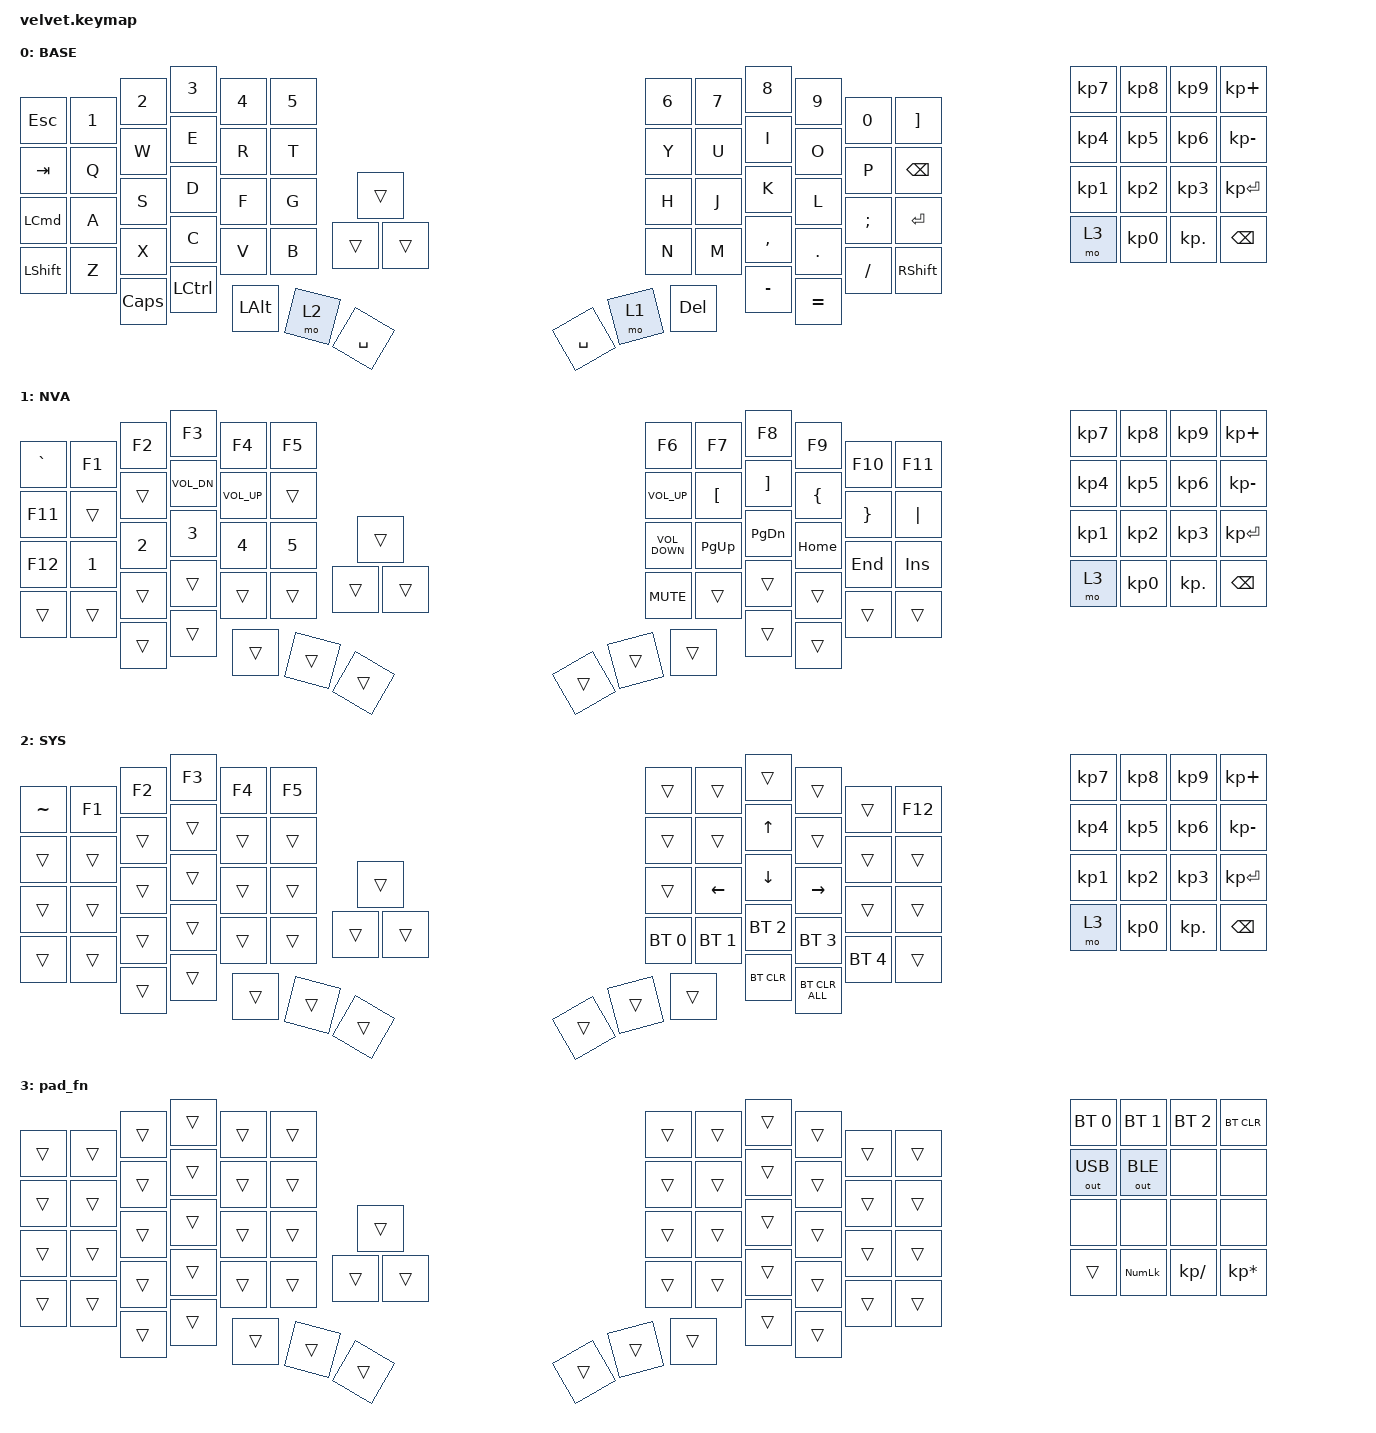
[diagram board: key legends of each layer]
#include <dt-bindings/zmk/outputs.h>
/* PAD_DUAL_RECEIVER_EXTENSION */
#define BASE 0
#define LOWER 1

#include <behaviors/runtime_macro.dtsi>
#include <behaviors.dtsi>
#include <dt-bindings/zmk/bt.h>
#include <dt-bindings/zmk/keys.h>

/ {
    behaviors {
        ltq: ltq {
            compatible = "zmk,behavior-hold-tap";
            label = "LTQ";
            bindings = <&mo>, <&kp>;

            #binding-cells = <2>;
            tapping-term-ms = <200>;
            quick-tap-ms = <180>;
        };
        td_m_pwd: td_m_pwd {
            compatible = "zmk,behavior-tap-dance";
            label = "TD_M_PWD";
            #binding-cells = <0>;

            // 1 tap: m
            // 2 taps: password + Enter
            bindings = <&kp M>, <&pwd_enter>;

            tapping-term-ms = <200>;
        };
    };

    combos {
        compatible = "zmk,combos";

        flash {
            bindings = <&bootloader>;
            key-positions = <0 11>;
        };
    };
    macros {
        pwd_enter: pwd_enter {
            compatible = "zmk,behavior-macro";
            label = "PWD_ENTER";
            #binding-cells = <0>;

            // outputs: x y 1 9 0 0 9 1 8 8 + Enter
            bindings =
                <&kp X>, <&kp Y>,
                <&kp N1>, <&kp N9>, <&kp N0>, <&kp N0>,
                <&kp N9>, <&kp N1>, <&kp N8>, <&kp N8>,
                <&kp ENTER>;
        };
    };

    keymap {
        compatible = "zmk,keymap";

        BASE {
            bindings = <
&kp ESC    &kp N1        &kp N2            &kp N3        &kp N4  &kp N5                &kp NUMBER_6  &kp N7  &kp N8      &kp N9     &kp N0     &kp RIGHT_BRACKET
&kp TAB    &kp Q         &kp W             &kp E         &kp R   &kp T      &trans     &kp Y         &kp U   &kp I       &kp O      &kp P      &kp BACKSPACE
&kp LCMD   &kp A         &kp S             &kp D         &kp F   &kp G      &trans     &kp H         &kp J   &kp K       &kp L      &kp SEMI   &kp ENTER
&kp LSHFT  &kp Z         &kp X             &kp C         &kp V   &kp B      &trans     &kp N         &kp M   &kp COMMA   &kp DOT    &kp SLASH  &kp RIGHT_SHIFT
           &kp CAPSLOCK  &kp LEFT_CONTROL  &kp LEFT_ALT  &mo 2   &kp SPACE             &kp SPACE     &mo 1   &kp DELETE  &kp MINUS  &kp EQUAL

&kp KP_N7 &kp KP_N8 &kp KP_N9 &kp KP_PLUS
&kp KP_N4 &kp KP_N5 &kp KP_N6 &kp KP_MINUS
&kp KP_N1 &kp KP_N2 &kp KP_N3 &kp KP_ENTER
&mo 3 &kp KP_N0 &kp KP_DOT &kp BSPC
>;

            label = "BASE";
        };

        NVA {
            bindings = <
&kp GRAVE  &kp F1  &kp F2  &kp F3        &kp F4           &kp F5          &kp F6             &kp F7            &kp F8             &kp F9          &kp F10          &kp F11
&kp F11    &trans  &trans  &kp C_VOL_DN  &kp C_VOLUME_UP  &trans  &trans  &kp C_VOLUME_UP    &kp LEFT_BRACKET  &kp RIGHT_BRACKET  &kp LEFT_BRACE  &kp RIGHT_BRACE  &kp PIPE
&kp F12    &kp N1  &kp N2  &kp N3        &kp N4           &kp N5  &trans  &kp C_VOLUME_DOWN  &kp PAGE_UP       &kp PAGE_DOWN      &kp HOME        &kp END          &kp INSERT
&trans     &trans  &trans  &trans        &trans           &trans  &trans  &kp C_MUTE         &trans            &trans             &trans          &trans           &trans
           &trans  &trans  &trans        &trans           &trans          &trans             &trans            &trans             &trans          &trans

&kp KP_N7 &kp KP_N8 &kp KP_N9 &kp KP_PLUS
&kp KP_N4 &kp KP_N5 &kp KP_N6 &kp KP_MINUS
&kp KP_N1 &kp KP_N2 &kp KP_N3 &kp KP_ENTER
&mo 3 &kp KP_N0 &kp KP_DOT &kp BSPC
>;

        };

        SYS {
            bindings = <
&kp TILDE  &kp F1  &kp F2  &kp F3  &kp F4  &kp F5          &trans        &trans        &trans        &trans        &trans          &kp F12
&trans     &trans  &trans  &trans  &trans  &trans  &trans  &trans        &trans        &kp UP_ARROW  &trans        &trans          &trans
&trans     &trans  &trans  &trans  &trans  &trans  &trans  &trans        &kp LEFT      &kp DOWN      &kp RIGHT     &trans          &trans
&trans     &trans  &trans  &trans  &trans  &trans  &trans  &bt BT_SEL 0  &bt BT_SEL 1  &bt BT_SEL 2  &bt BT_SEL 3  &bt BT_SEL 4    &trans
           &trans  &trans  &trans  &trans  &trans          &trans        &trans        &trans        &bt BT_CLR    &bt BT_CLR_ALL

&kp KP_N7 &kp KP_N8 &kp KP_N9 &kp KP_PLUS
&kp KP_N4 &kp KP_N5 &kp KP_N6 &kp KP_MINUS
&kp KP_N1 &kp KP_N2 &kp KP_N3 &kp KP_ENTER
&mo 3 &kp KP_N0 &kp KP_DOT &kp BSPC
>;

        };

        pad_fn { bindings = <
&trans
&trans
&trans
&trans
&trans
&trans
&trans
&trans
&trans
&trans
&trans
&trans
&trans
&trans
&trans
&trans
&trans
&trans
&trans
&trans
&trans
&trans
&trans
&trans
&trans
&trans
&trans
&trans
&trans
&trans
&trans
&trans
&trans
&trans
&trans
&trans
&trans
&trans
&trans
&trans
&trans
&trans
&trans
&trans
&trans
&trans
&trans
&trans
&trans
&trans
&trans
&trans
&trans
&trans
&trans
&trans
&trans
&trans
&trans
&trans
&trans
&bt BT_SEL 0 &bt BT_SEL 1 &bt BT_SEL 2 &bt BT_CLR
&out OUT_USB &out OUT_BLE &none &none
&none &none &none &none
&trans &kp KP_NUMLOCK &kp KP_DIVIDE &kp KP_MULTIPLY
>; };
};
};
